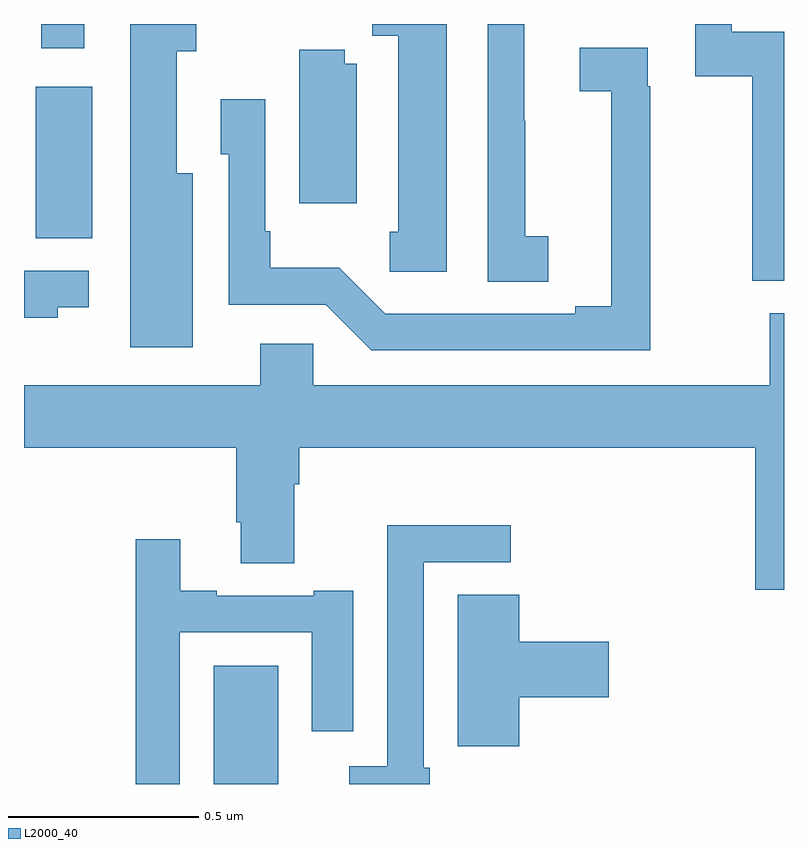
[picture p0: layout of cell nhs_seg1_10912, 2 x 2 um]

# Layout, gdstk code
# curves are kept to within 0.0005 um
import gdstk
lib = gdstk.Library(unit=1e-6, precision=1e-09)
def R(c, l, rs):  # rectangles x0, y0, x1, y1
    for r in rs: c.add(gdstk.rectangle(r[:2], r[2:], *l))
def P(c, l, *ps):  # polygons
    for p in ps: c.add(gdstk.Polygon(p, *l))
L2000_40 = (2000, 40)

nhs_seg1_10912 = lib.new_cell('nhs_seg1_10912')
R(nhs_seg1_10912, L2000_40, [(247.499,532.199,247.669,532.51), (247.031,533.635,247.18,534.034), (247.046,534.135,247.159,534.199)])
P(nhs_seg1_10912, L2000_40, [(249,534.178),(248.862,534.178),(248.862,534.199),(248.766,534.199),(248.766,534.061),(248.917,534.061),(248.917,533.523),(249,533.523)],
  [(248.38,533.641),(248.319,533.641),(248.319,533.945),(248.317,533.945),(248.317,534.199),(248.22,534.199),(248.22,533.521),(248.38,533.521)],
  [(247.444,533.806),(247.402,533.806),(247.402,534.127),(247.453,534.127),(247.453,534.199),(247.28,534.199),(247.28,533.349),(247.444,533.349)],
  [(248.113,534.199),(247.917,534.199),(247.917,534.168),(247.985,534.168),(247.985,533.652),(247.963,533.652),(247.963,533.547),(248.113,533.547)],
  [(248.648,534.035),(248.642,534.035),(248.642,534.137),(248.463,534.137),(248.463,534.022),(248.545,534.022),(248.546,533.456),(248.45,533.456),(248.45,533.436),(247.95,533.436),(247.829,533.557),(247.648,533.557),(247.648,533.653),(247.635,533.653),(247.635,534.001),(247.518,534.001),(247.518,533.856),(247.539,533.856),(247.539,533.46),(247.794,533.46),(247.914,533.34),(248.648,533.34)],
  [(247.876,534.094),(247.844,534.094),(247.844,534.131),(247.724,534.131),(247.724,533.727),(247.876,533.727)],
  [(247.089,533.453),(247.171,533.453),(247.171,533.55),(247,533.55),(247,533.426),(247.089,533.426)],
  [(249,533.438),(248.962,533.438),(248.962,533.248),(247.761,533.248),(247.761,533.358),(247.622,533.358),(247.622,533.248),(247,533.248),(247,533.084),(247.559,533.084),(247.559,532.888),(247.571,532.888),(247.571,532.78),(247.711,532.78),(247.711,532.988),(247.724,532.988),(247.724,533.084),(248.924,533.084),(248.924,532.71),(249,532.71)],
  [(248.068,532.242),(248.052,532.242),(248.052,532.782),(248.281,532.782),(248.281,532.88),(247.956,532.88),(247.956,532.246),(247.856,532.246),(247.856,532.199),(248.068,532.199)],
  [(247.41,532.599),(247.757,532.599),(247.757,532.338),(247.867,532.338),(247.867,532.708),(247.763,532.708),(247.763,532.695),(247.507,532.695),(247.507,532.708),(247.411,532.708),(247.411,532.843),(247.294,532.843),(247.294,532.199),(247.41,532.199)],
  [(248.303,532.427),(248.539,532.427),(248.539,532.574),(248.303,532.574),(248.303,532.697),(248.141,532.697),(248.141,532.299),(248.303,532.299)])

lib.write_gds('nhs_seg1_10912.gds')
